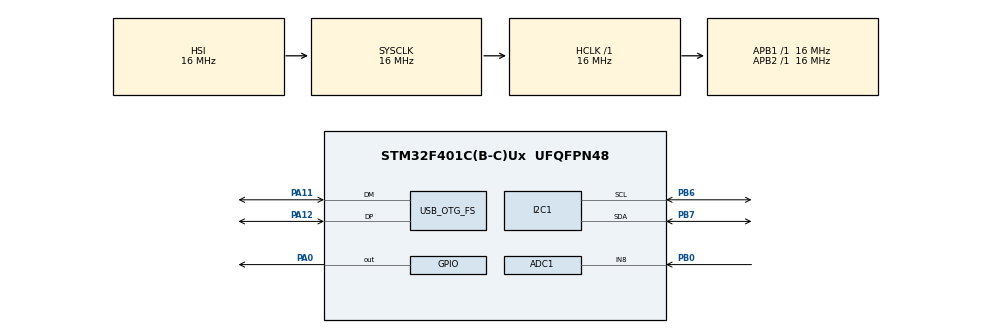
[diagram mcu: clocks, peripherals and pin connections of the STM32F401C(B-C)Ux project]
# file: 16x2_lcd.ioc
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ADC1.Channel-7\#ChannelRegularConversion=ADC_CHANNEL_8
ADC1.NbrOfConversionFlag=1
ADC1.Rank-7\#ChannelRegularConversion=1
ADC1.Resolution=ADC_RESOLUTION_8B
ADC1.SamplingTime-7\#ChannelRegularConversion=ADC_SAMPLETIME_3CYCLES
ADC1.master=1
Mcu.Family=STM32F4
Mcu.Name=STM32F401C(B-C)Ux
Mcu.Package=UFQFPN48
NVIC.OTG_FS_IRQn=true\:0\:0\:false\:false\:true\:false\:true\:true
NVIC.PriorityGroup=NVIC_PRIORITYGROUP_4
PA0-WKUP.Signal=GPIO_Output
PA11.Mode=Device_Only
PA11.Signal=USB_OTG_FS_DM
PA12.Mode=Device_Only
PA12.Signal=USB_OTG_FS_DP
PA13.Mode=Serial_Wire
PA13.Signal=SYS_JTMS-SWDIO
PA14.Mode=Serial_Wire
PA14.Signal=SYS_JTCK-SWCLK
PB0.Signal=ADCx_IN8
PB6.GPIO_Pu=GPIO_PULLUP
PB6.Mode=I2C
PB6.Signal=I2C1_SCL
PB7.GPIO_Pu=GPIO_PULLUP
PB7.Mode=I2C
PB7.Signal=I2C1_SDA
ProjectManager.HeapSize=0x200
ProjectManager.StackSize=0x400
ProjectManager.TargetToolchain=STM32CubeIDE
RCC.AHBFreq_Value=16000000
RCC.APB1Freq_Value=16000000
RCC.APB2Freq_Value=16000000
RCC.CortexFreq_Value=16000000
RCC.HSE_VALUE=25000000
RCC.HSI_VALUE=16000000
RCC.LSE_VALUE=32768
RCC.PLLSourceVirtualString=RCC_PLLSOURCE_HSI
RCC.SYSCLKFreq_VALUE=16000000
RCC.VCOOutputFreq_Value=192000000
SH.ADCx_IN8.0=ADC1_IN8,IN8
TIM1.Period=0xffff - 1
TIM1.Prescaler=16 - 1
USB_DEVICE.CLASS_NAME_FS=CDC
USB_DEVICE.VirtualMode=Cdc
USB_DEVICE.VirtualModeFS=Cdc_FS
USB_OTG_FS.VirtualMode=Device_Only
VP_TIM1_VS_ClockSourceINT.Mode=Internal
VP_USB_DEVICE_VS_USB_DEVICE_CDC_FS.Mode=CDC_FS
board=custom

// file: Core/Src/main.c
/* USER CODE BEGIN Header */
/**
  ******************************************************************************
  * @file           : main.c
  * @brief          : Main program body
  ******************************************************************************
  * @attention
  *
  * Copyright (c) 2023 STMicroelectronics.
  * All rights reserved.
  *
  * This software is licensed under terms that can be found in the LICENSE file
  * in the root directory of this software component.
  * If no LICENSE file comes with this software, it is provided AS-IS.
  *
  ******************************************************************************
  */
/* USER CODE END Header */
#include "main.h"
#include "usb_device.h"

/* USER CODE BEGIN Includes */
#include "lcd16x2_i2c.h"
#include "bmp280.h"
#include "stdio.h"
#include "usbd_cdc_if.h"
#include "dht11.h"

/* USER CODE END Includes */

ADC_HandleTypeDef hadc1;

I2C_HandleTypeDef hi2c1;

TIM_HandleTypeDef htim1;

/* USER CODE BEGIN PV */
typedef struct TelemteryData
{
    float temperature;
    float altitude;
    float pressure;
    uint8_t ldrRaw;
    uint8_t humidity;
} TelemteryData;

TelemteryData Telemetry;
BMP280_HandleTypedef bmp280;
dht11_t dht;

#if defined (__ICCARM__) || defined (__ARMCC_VERSION)
#define PUTCHAR_PROTOTYPE int fputc(int ch, FILE *f)
#elif defined(__GNUC__)
/* With GCC, small printf (option LD Linker->Libraries->Small printf
set to 'Yes') calls __io_putchar() */
#define PUTCHAR_PROTOTYPE int __io_putchar(int ch)
#endif /* __ICCARM__ || __ARMCC_VERSION */
/* USER CODE END PV */

void SystemClock_Config(void);
static void MX_GPIO_Init(void);
static void MX_ADC1_Init(void);
static void MX_I2C1_Init(void);
static void MX_TIM1_Init(void);

/* USER CODE BEGIN 0 */

void Print_Temp_Pressure_Light_Data_On_LCD(TelemteryData telemetry)
{
    char tempFloatToStr[] = "T 25.33 C";
    snprintf(tempFloatToStr, sizeof(tempFloatToStr), "T:%3.2f C", telemetry.temperature);
    LCD_Send_String_At_Pos(tempFloatToStr, 0, 0);

    char humidityDataToStr[] = "H 54%";
    snprintf(humidityDataToStr, sizeof(humidityDataToStr), "H:%d%%", telemetry.humidity);
    LCD_Send_String_At_Pos(humidityDataToStr, 0, sizeof(tempFloatToStr) + 1);

    char altitudeFloatToStr[] = "A 12345 M";
    snprintf(altitudeFloatToStr, sizeof(altitudeFloatToStr), "A:%4.0f M", telemetry.altitude);
    LCD_Send_String_At_Pos(altitudeFloatToStr, 1, 0);

    char ldrRawDataToStr[] = "L 54%";
    snprintf(ldrRawDataToStr, sizeof(ldrRawDataToStr), "L:%2d%%", telemetry.ldrRaw);
    LCD_Send_String_At_Pos(ldrRawDataToStr, 1, sizeof(altitudeFloatToStr) + 1);
}
/* USER CODE END 0 */

int main(void)
{

    /* MCU Configuration--------------------------------------------------------*/

    /* Reset of all peripherals, Initializes the Flash interface and the Systick. */
    HAL_Init();

    /* Configure the system clock */
    SystemClock_Config();

    /* Initialize all configured peripherals */
    MX_GPIO_Init();
    MX_ADC1_Init();
    MX_I2C1_Init();
    MX_USB_DEVICE_Init();
    MX_TIM1_Init();

    /* Infinite loop */
    while (1)
    {

    }
}

void SystemClock_Config(void)
{
    RCC_OscInitTypeDef RCC_OscInitStruct = {0};
    RCC_ClkInitTypeDef RCC_ClkInitStruct = {0};

    /** Configure the main internal regulator output voltage
    */
    __HAL_RCC_PWR_CLK_ENABLE();
    __HAL_PWR_VOLTAGESCALING_CONFIG(PWR_REGULATOR_VOLTAGE_SCALE2);

    /** Initializes the RCC Oscillators according to the specified parameters
    * in the RCC_OscInitTypeDef structure.
    */
    RCC_OscInitStruct.OscillatorType = RCC_OSCILLATORTYPE_HSI;
    RCC_OscInitStruct.HSIState = RCC_HSI_ON;
    RCC_OscInitStruct.HSICalibrationValue = RCC_HSICALIBRATION_DEFAULT;
    RCC_OscInitStruct.PLL.PLLState = RCC_PLL_ON;
    RCC_OscInitStruct.PLL.PLLSource = RCC_PLLSOURCE_HSI;
    RCC_OscInitStruct.PLL.PLLM = 16;
    RCC_OscInitStruct.PLL.PLLN = 192;
    RCC_OscInitStruct.PLL.PLLP = RCC_PLLP_DIV2;
    RCC_OscInitStruct.PLL.PLLQ = 4;
    if (HAL_RCC_OscConfig(&RCC_OscInitStruct) != HAL_OK)
    {
        Error_Handler();
    }

    /** Initializes the CPU, AHB and APB buses clocks
    */
    RCC_ClkInitStruct.ClockType = RCC_CLOCKTYPE_HCLK | RCC_CLOCKTYPE_SYSCLK
                                  | RCC_CLOCKTYPE_PCLK1 | RCC_CLOCKTYPE_PCLK2;
    RCC_ClkInitStruct.SYSCLKSource = RCC_SYSCLKSOURCE_HSI;
    RCC_ClkInitStruct.AHBCLKDivider = RCC_SYSCLK_DIV1;
    RCC_ClkInitStruct.APB1CLKDivider = RCC_HCLK_DIV1;
    RCC_ClkInitStruct.APB2CLKDivider = RCC_HCLK_DIV1;

    if (HAL_RCC_ClockConfig(&RCC_ClkInitStruct, FLASH_LATENCY_0) != HAL_OK)
    {
        Error_Handler();
    }
}

static void MX_ADC1_Init(void)
{

    ADC_ChannelConfTypeDef sConfig = {0};

    /** Configure the global features of the ADC (Clock, Resolution, Data Alignment and number of conversion)
    */
    hadc1.Instance = ADC1;
    hadc1.Init.ClockPrescaler = ADC_CLOCK_SYNC_PCLK_DIV2;
    hadc1.Init.Resolution = ADC_RESOLUTION_8B;
    hadc1.Init.ScanConvMode = DISABLE;
    hadc1.Init.ContinuousConvMode = DISABLE;
    hadc1.Init.DiscontinuousConvMode = DISABLE;
    hadc1.Init.ExternalTrigConvEdge = ADC_EXTERNALTRIGCONVEDGE_NONE;
    hadc1.Init.ExternalTrigConv = ADC_SOFTWARE_START;
    hadc1.Init.DataAlign = ADC_DATAALIGN_RIGHT;
    hadc1.Init.NbrOfConversion = 1;
    hadc1.Init.DMAContinuousRequests = DISABLE;
    hadc1.Init.EOCSelection = ADC_EOC_SINGLE_CONV;
    if (HAL_ADC_Init(&hadc1) != HAL_OK)
    {
        Error_Handler();
    }

    /** Configure for the selected ADC regular channel its corresponding rank in the sequencer and its sample time.
    */
    sConfig.Channel = ADC_CHANNEL_8;
    sConfig.Rank = 1;
    sConfig.SamplingTime = ADC_SAMPLETIME_3CYCLES;
    if (HAL_ADC_ConfigChannel(&hadc1, &sConfig) != HAL_OK)
    {
        Error_Handler();
    }

}

static void MX_I2C1_Init(void)
{

    hi2c1.Instance = I2C1;
    hi2c1.Init.ClockSpeed = 100000;
    hi2c1.Init.DutyCycle = I2C_DUTYCYCLE_2;
    hi2c1.Init.OwnAddress1 = 0;
    hi2c1.Init.AddressingMode = I2C_ADDRESSINGMODE_7BIT;
    hi2c1.Init.DualAddressMode = I2C_DUALADDRESS_DISABLE;
    hi2c1.Init.OwnAddress2 = 0;
    hi2c1.Init.GeneralCallMode = I2C_GENERALCALL_DISABLE;
    hi2c1.Init.NoStretchMode = I2C_NOSTRETCH_DISABLE;
    if (HAL_I2C_Init(&hi2c1) != HAL_OK)
    {
        Error_Handler();
    }

}

static void MX_TIM1_Init(void)
{

    TIM_ClockConfigTypeDef sClockSourceConfig = {0};
    TIM_MasterConfigTypeDef sMasterConfig = {0};

    htim1.Instance = TIM1;
    htim1.Init.Prescaler = 16 - 1;
    htim1.Init.CounterMode = TIM_COUNTERMODE_UP;
    htim1.Init.Period = 0xffff - 1;
    htim1.Init.ClockDivision = TIM_CLOCKDIVISION_DIV1;
    htim1.Init.RepetitionCounter = 0;
    htim1.Init.AutoReloadPreload = TIM_AUTORELOAD_PRELOAD_DISABLE;
    if (HAL_TIM_Base_Init(&htim1) != HAL_OK)
    {
        Error_Handler();
    }
    sClockSourceConfig.ClockSource = TIM_CLOCKSOURCE_INTERNAL;
    if (HAL_TIM_ConfigClockSource(&htim1, &sClockSourceConfig) != HAL_OK)
    {
        Error_Handler();
    }
    sMasterConfig.MasterOutputTrigger = TIM_TRGO_RESET;
    sMasterConfig.MasterSlaveMode = TIM_MASTERSLAVEMODE_DISABLE;
    if (HAL_TIMEx_MasterConfigSynchronization(&htim1, &sMasterConfig) != HAL_OK)
    {
        Error_Handler();
    }
    /* USER CODE BEGIN TIM1_Init 2 */
    htim1.Init.Period = 0xFFFF - 1;
    htim1.Init.Prescaler = 16 - 1;
    htim1.Init.ClockDivision = 0;
    if (HAL_TIM_Base_Init(&htim1) != HAL_OK)
    {
        Error_Handler();
    }
    /* USER CODE END TIM1_Init 2 */

}

static void MX_GPIO_Init(void)
{
    GPIO_InitTypeDef GPIO_InitStruct = {0};

    /* GPIO Ports Clock Enable */
    __HAL_RCC_GPIOA_CLK_ENABLE();
    __HAL_RCC_GPIOB_CLK_ENABLE();

    /*Configure GPIO pin Output Level */
    HAL_GPIO_WritePin(GPIOA, GPIO_PIN_0, GPIO_PIN_RESET);

    /*Configure GPIO pin : PA0 */
    GPIO_InitStruct.Pin = GPIO_PIN_0;
    GPIO_InitStruct.Mode = GPIO_MODE_OUTPUT_PP;
    GPIO_InitStruct.Pull = GPIO_NOPULL;
    GPIO_InitStruct.Speed = GPIO_SPEED_FREQ_LOW;
    HAL_GPIO_Init(GPIOA, &GPIO_InitStruct);

}

/* USER CODE BEGIN 4 */
PUTCHAR_PROTOTYPE
{
    /* Place your implementation of fputc here */
    volatile uint32_t retry = 500;
    while ((CDC_Transmit_FS((uint8_t *)&ch, 1) != 0) && retry)
    {
        retry--;
    }
    return ch;
}

void Delay_Us(uint32_t us)
{
    uint32_t startTick = __HAL_TIM_GET_COUNTER(&htim1);
    while ((__HAL_TIM_GET_COUNTER(&htim1) - startTick) < us);
}
/* USER CODE END 4 */

void Error_Handler(void)
{
    __disable_irq();
    while (1)
    {
    }
}
